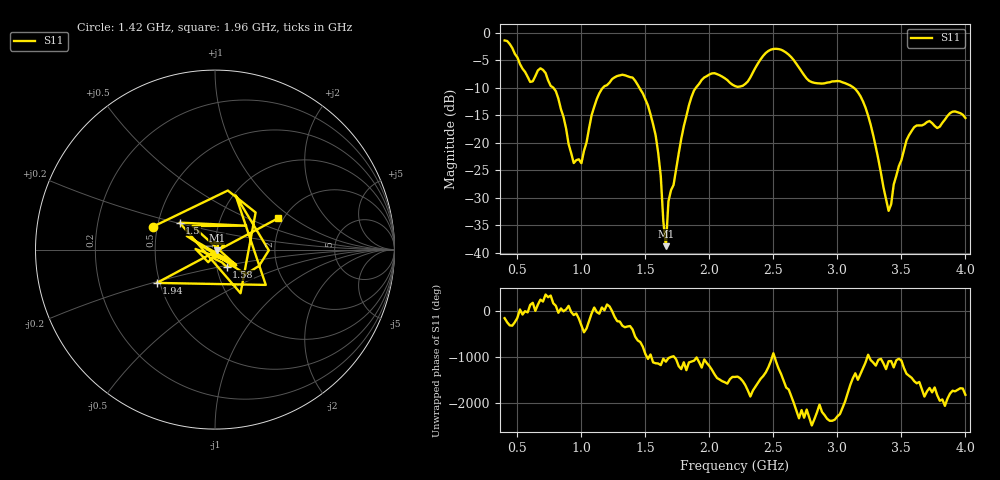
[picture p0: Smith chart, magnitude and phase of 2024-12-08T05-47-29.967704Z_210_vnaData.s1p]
!Created with skrf (http://scikit-rf.org).
# Hz S RI R 50.0
!freq ReS11 ImS11
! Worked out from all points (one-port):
!   181 points, 400 MHz to 4 GHz, reference 50 ohm
!   lowest |S11| = -38.8 dB at 1.66 GHz (marker M1), VSWR 1.02, Z = 51.1 - j0.451 ohm
!   |S11| at or under -10 dB: 781.8 MHz to 1.167 GHz (385.6 MHz wide, 39.6 % of centre); 1.453 GHz to 1.894 GHz (440.7 MHz wide, 26.3 % of centre); 3.129 GHz to end of sweep
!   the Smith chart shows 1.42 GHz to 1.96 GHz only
!   S11 on the Smith chart (normalised r, x): 1.42 GHz: 0.47, +0.14; 1.5 GHz: 0.64, +0.21; 1.58 GHz: 1.12, -0.22; 1.94 GHz: 0.48, -0.21; 1.96 GHz: 1.88, +0.78
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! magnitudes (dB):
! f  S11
! 400 MHz  -1.4
! 600 MHz  -8.9
! 720 MHz  -7.3
! 860 MHz  -15.3
! 940 MHz  -23.7
! 1 GHz  -23.7
! 1.12 GHz  -12.0
! 1.3 GHz  -7.7
! 1.42 GHz  -8.7
! 1.5 GHz  -12.1
! 1.58 GHz  -18.6
! 1.62 GHz  -26.0
! 1.66 GHz  -38.8
! 1.68 GHz  -30.7
! 1.76 GHz  -22.0
! 1.86 GHz  -11.6
! 1.94 GHz  -8.5
! 1.96 GHz  -8.1
! 2.2 GHz  -9.7
! 2.48 GHz  -3.0
! 2.66 GHz  -5.0
! 2.8 GHz  -9.0
! 3.1 GHz  -9.5
! 3.24 GHz  -15.1
! 3.4 GHz  -32.4
! 3.56 GHz  -18.6
! 3.9 GHz  -14.3
! 4 GHz  -15.5
